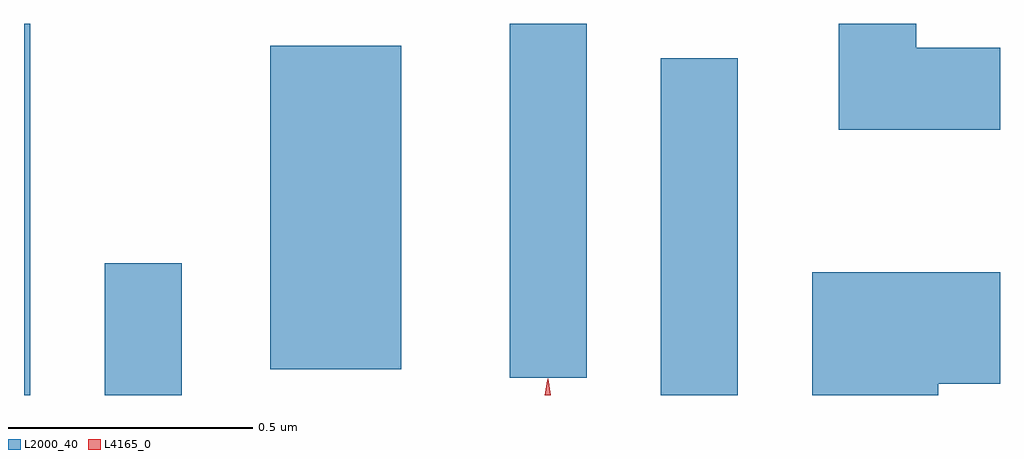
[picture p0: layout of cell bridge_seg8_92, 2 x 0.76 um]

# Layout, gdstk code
import gdstk
lib = gdstk.Library(unit=1e-6, precision=1e-09)
def R(c, l, rs):  # rectangles x0, y0, x1, y1
    for r in rs: c.add(gdstk.rectangle(r[:2], r[2:], *l))
def P(c, l, *ps):  # polygons
    for p in ps: c.add(gdstk.Polygon(p, *l))
L2000_40 = (2000, 40)
L4165_0 = (4165, 0)

bridge_seg8_92 = lib.new_cell('bridge_seg8_92')
R(bridge_seg8_92, L2000_40, [(1588.201,1806.342,1588.214,1807.104), (1588.366,1806.342,1588.524,1806.613), (1589.506,1806.342,1589.664,1807.033), (1589.196,1806.378,1589.354,1807.104), (1588.706,1806.396,1588.974,1807.059)])
P(bridge_seg8_92, L2000_40, [(1590.201,1807.054),(1590.029,1807.054),(1590.029,1807.104),(1589.871,1807.104),(1589.871,1806.886),(1590.201,1806.886)],
  [(1590.074,1806.366),(1590.201,1806.366),(1590.201,1806.594),(1589.816,1806.594),(1589.816,1806.342),(1590.074,1806.342)])
P(bridge_seg8_92, L4165_0, [(1589.268,1806.342),(1589.273,1806.372),(1589.273,1806.373),(1589.274,1806.372),(1589.278,1806.342)],
  [(1589.27,1806.342),(1589.274,1806.376),(1589.275,1806.376),(1589.28,1806.342)])

lib.write_gds('bridge_seg8_92.gds')
